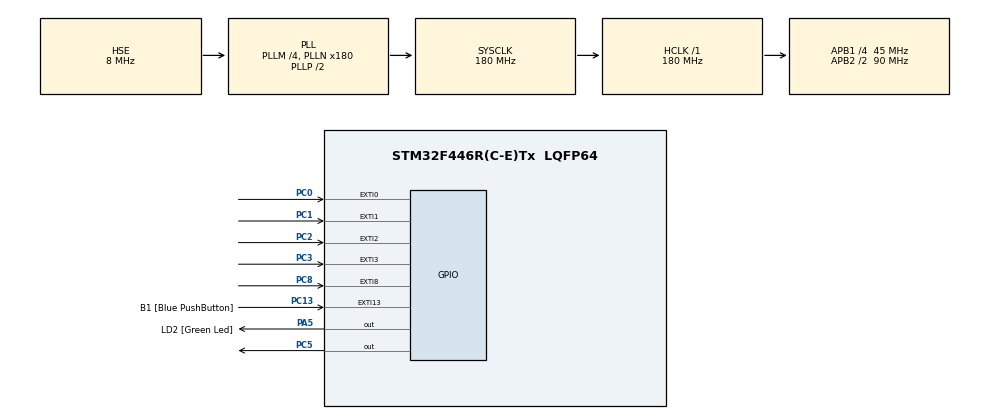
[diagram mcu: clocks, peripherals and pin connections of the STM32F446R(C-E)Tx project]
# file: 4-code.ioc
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Mcu.Family=STM32F4
Mcu.Name=STM32F446R(C-E)Tx
Mcu.Package=LQFP64
NVIC.EXTI0_IRQn=true\:0\:0\:false\:false\:true
NVIC.EXTI1_IRQn=true\:0\:0\:false\:false\:true
NVIC.EXTI2_IRQn=true\:0\:0\:false\:false\:true
NVIC.EXTI3_IRQn=true\:0\:0\:false\:false\:true
NVIC.EXTI9_5_IRQn=true\:0\:0\:false\:false\:true
NVIC.PriorityGroup=NVIC_PRIORITYGROUP_0
PA13.GPIO_Label=TMS
PA13.Mode=Serial_Wire
PA13.Signal=SYS_JTMS-SWDIO
PA14.GPIO_Label=TCK
PA14.Mode=Serial_Wire
PA14.Signal=SYS_JTCK-SWCLK
PA2.GPIO_Label=USART_TX
PA2.Signal=USART2_TX
PA3.GPIO_Label=USART_RX
PA3.Signal=USART2_RX
PA5.GPIO_Label=LD2 [Green Led]
PA5.Signal=GPIO_Output
PB3.GPIO_Label=SWO
PB3.Signal=SYS_JTDO-SWO
PC0.GPIO_ModeDefaultEXTI=GPIO_MODE_IT_FALLING
PC0.GPIO_PuPd=GPIO_PULLUP
PC0.Signal=GPXTI0
PC1.GPIO_ModeDefaultEXTI=GPIO_MODE_IT_FALLING
PC1.GPIO_PuPd=GPIO_PULLUP
PC1.Signal=GPXTI1
PC13.GPIO_Label=B1 [Blue PushButton]
PC13.GPIO_ModeDefaultEXTI=GPIO_MODE_EVT_RISING
PC13.Signal=GPXTI13
PC14-OSC32_IN.Signal=RCC_OSC32_IN
PC15-OSC32_OUT.Signal=RCC_OSC32_OUT
PC2.GPIO_ModeDefaultEXTI=GPIO_MODE_IT_FALLING
PC2.GPIO_PuPd=GPIO_PULLUP
PC2.Signal=GPXTI2
PC3.GPIO_ModeDefaultEXTI=GPIO_MODE_IT_FALLING
PC3.GPIO_PuPd=GPIO_PULLUP
PC3.Signal=GPXTI3
PC5.GPIO_ModeDefaultOutputPP=GPIO_MODE_OUTPUT_PP
PC5.Signal=GPIO_Output
PC8.GPIO_ModeDefaultEXTI=GPIO_MODE_IT_FALLING
PC8.GPIO_PuPd=GPIO_PULLUP
PC8.Signal=GPXTI8
PH0-OSC_IN.Mode=HSE-External-Clock-Source
PH0-OSC_IN.Signal=RCC_OSC_IN
PH1-OSC_OUT.Mode=HSE-External-Clock-Source
PH1-OSC_OUT.Signal=RCC_OSC_OUT
ProjectManager.HeapSize=0x200
ProjectManager.StackSize=0x400
ProjectManager.TargetToolchain=SW4STM32
RCC.AHBFreq_Value=180000000
RCC.APB1CLKDivider=RCC_HCLK_DIV4
RCC.APB1Freq_Value=45000000
RCC.APB1TimFreq_Value=90000000
RCC.APB2CLKDivider=RCC_HCLK_DIV2
RCC.APB2Freq_Value=90000000
RCC.APB2TimFreq_Value=180000000
RCC.CortexFreq_Value=180000000
RCC.FLatency-AdvancedSettings=FLASH_LATENCY_5
RCC.HCLKFreq_Value=180000000
RCC.HSE_VALUE=8000000
RCC.HSI_VALUE=16000000
RCC.LSE_VALUE=32768
RCC.PLLM=4
RCC.PLLN=180
RCC.PLLSourceVirtual=RCC_PLLSOURCE_HSE
RCC.SYSCLKFreq_VALUE=180000000
RCC.SYSCLKSource=RCC_SYSCLKSOURCE_PLLCLK
RCC.USBFreq_Value=180000000
RCC.VCOOutputFreq_Value=360000000
board=NUCLEO-F446RE

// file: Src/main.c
/**
  ******************************************************************************
  * File Name          : main.c
  * Description        : Main program body
  ******************************************************************************
  *
  * COPYRIGHT(c) 2016 STMicroelectronics
  *
  * Redistribution and use in source and binary forms, with or without modification,
  * are permitted provided that the following conditions are met:
  *   1. Redistributions of source code must retain the above copyright notice,
  *      this list of conditions and the following disclaimer.
  *   2. Redistributions in binary form must reproduce the above copyright notice,
  *      this list of conditions and the following disclaimer in the documentation
  *      and/or other materials provided with the distribution.
  *   3. Neither the name of STMicroelectronics nor the names of its contributors
  *      may be used to endorse or promote products derived from this software
  *      without specific prior written permission.
  *
  * THIS SOFTWARE IS PROVIDED BY THE COPYRIGHT HOLDERS AND CONTRIBUTORS "AS IS"
  * AND ANY EXPRESS OR IMPLIED WARRANTIES, INCLUDING, BUT NOT LIMITED TO, THE
  * IMPLIED WARRANTIES OF MERCHANTABILITY AND FITNESS FOR A PARTICULAR PURPOSE ARE
  * DISCLAIMED. IN NO EVENT SHALL THE COPYRIGHT HOLDER OR CONTRIBUTORS BE LIABLE
  * FOR ANY DIRECT, INDIRECT, INCIDENTAL, SPECIAL, EXEMPLARY, OR CONSEQUENTIAL
  * DAMAGES (INCLUDING, BUT NOT LIMITED TO, PROCUREMENT OF SUBSTITUTE GOODS OR
  * SERVICES; LOSS OF USE, DATA, OR PROFITS; OR BUSINESS INTERRUPTION) HOWEVER
  * CAUSED AND ON ANY THEORY OF LIABILITY, WHETHER IN CONTRACT, STRICT LIABILITY,
  * OR TORT (INCLUDING NEGLIGENCE OR OTHERWISE) ARISING IN ANY WAY OUT OF THE USE
  * OF THIS SOFTWARE, EVEN IF ADVISED OF THE POSSIBILITY OF SUCH DAMAGE.
  *
  ******************************************************************************
  */
#include "main.h"
#include "stm32f4xx_hal.h"
#include "gpio.h"

/* USER CODE BEGIN Includes */
#include "lcd.h"
/* USER CODE END Includes */

/* USER CODE BEGIN PV */
/* Private variables ---------------------------------------------------------*/
buttons passw[] = {BTN3, BTN0, BTN1, BTN2};
uint8_t passw_length = sizeof(passw)/sizeof(passw[0]);
volatile uint8_t current_position;
volatile uint8_t is_opened = 0;
uint8_t state = 0;

uint32_t input_end_tick = 0;

void reset(void);
/* USER CODE END PV */

void SystemClock_Config(void);
void Error_Handler(void);

/* USER CODE BEGIN PFP */
/* Private function prototypes -----------------------------------------------*/

/* USER CODE END PFP */

int main(void)
{

  /* USER CODE BEGIN 1 */
	uint32_t current_tick,
			     next_blink_tick = 0,
           autoclose_tick = 0,
           autoclose_timeout_ticks = 5000,
           input_limit_ticks = 5000;

  /* USER CODE END 1 */

  /* MCU Configuration----------------------------------------------------------*/

  /* Reset of all peripherals, Initializes the Flash interface and the Systick. */
  HAL_Init();

  /* Configure the system clock */
  SystemClock_Config();

  /* Initialize all configured peripherals */
  MX_GPIO_Init();

  /* USER CODE BEGIN 2 */
  LCD_Init();
  /* USER CODE END 2 */

  /* Infinite loop */
  /* USER CODE BEGIN WHILE */
  while (1)
  {

	  LCD_Printf("yay\n");
    current_tick = HAL_GetTick();

    // check timeout for input
    if (current_position && current_position != passw_length) {
      if (input_end_tick == 0) {
        input_end_tick = current_tick + input_limit_ticks;
      }
      else if(input_end_tick < current_tick) {
        reset();
      }
    }

    // toggle state
    if (state != is_opened) {
      state = is_opened;
      autoclose_tick = current_tick + autoclose_timeout_ticks;
      HAL_GPIO_TogglePin(GPIOC, GPIO_PIN_5);
    }
    // reset state after auto close timeout
    else if (is_opened && autoclose_tick < current_tick) {
      reset();
    }

    // blink indicator
    if (next_blink_tick < current_tick) {
      HAL_GPIO_TogglePin(GPIOA, GPIO_PIN_5);
      next_blink_tick =  current_tick + (input_end_tick ? + 200 : 1000);
    }
  /* USER CODE END WHILE */

  }

}

/** System Clock Configuration
*/
void SystemClock_Config(void)
{

  RCC_OscInitTypeDef RCC_OscInitStruct;
  RCC_ClkInitTypeDef RCC_ClkInitStruct;

    /**Configure the main internal regulator output voltage
    */
  __HAL_RCC_PWR_CLK_ENABLE();

  __HAL_PWR_VOLTAGESCALING_CONFIG(PWR_REGULATOR_VOLTAGE_SCALE1);

    /**Initializes the CPU, AHB and APB busses clocks
    */
  RCC_OscInitStruct.OscillatorType = RCC_OSCILLATORTYPE_HSE;
  RCC_OscInitStruct.HSEState = RCC_HSE_BYPASS;
  RCC_OscInitStruct.PLL.PLLState = RCC_PLL_ON;
  RCC_OscInitStruct.PLL.PLLSource = RCC_PLLSOURCE_HSE;
  RCC_OscInitStruct.PLL.PLLM = 4;
  RCC_OscInitStruct.PLL.PLLN = 180;
  RCC_OscInitStruct.PLL.PLLP = RCC_PLLP_DIV2;
  RCC_OscInitStruct.PLL.PLLQ = 2;
  RCC_OscInitStruct.PLL.PLLR = 2;
  if (HAL_RCC_OscConfig(&RCC_OscInitStruct) != HAL_OK)
  {
    Error_Handler();
  }

    /**Activate the Over-Drive mode
    */
  if (HAL_PWREx_EnableOverDrive() != HAL_OK)
  {
    Error_Handler();
  }

    /**Initializes the CPU, AHB and APB busses clocks
    */
  RCC_ClkInitStruct.ClockType = RCC_CLOCKTYPE_HCLK|RCC_CLOCKTYPE_SYSCLK
                              |RCC_CLOCKTYPE_PCLK1|RCC_CLOCKTYPE_PCLK2;
  RCC_ClkInitStruct.SYSCLKSource = RCC_SYSCLKSOURCE_PLLCLK;
  RCC_ClkInitStruct.AHBCLKDivider = RCC_SYSCLK_DIV1;
  RCC_ClkInitStruct.APB1CLKDivider = RCC_HCLK_DIV4;
  RCC_ClkInitStruct.APB2CLKDivider = RCC_HCLK_DIV2;

  if (HAL_RCC_ClockConfig(&RCC_ClkInitStruct, FLASH_LATENCY_5) != HAL_OK)
  {
    Error_Handler();
  }

    /**Configure the Systick interrupt time
    */
  HAL_SYSTICK_Config(HAL_RCC_GetHCLKFreq()/1000);

    /**Configure the Systick
    */
  HAL_SYSTICK_CLKSourceConfig(SYSTICK_CLKSOURCE_HCLK);

  /* SysTick_IRQn interrupt configuration */
  HAL_NVIC_SetPriority(SysTick_IRQn, 0, 0);
}

/* USER CODE BEGIN 4 */
void reset(void) {
  state = 0;
  is_opened = 0;
  current_position = 0;
  input_end_tick = 0;
  HAL_GPIO_WritePin(GPIOC, GPIO_PIN_5, 0);
}
/* USER CODE END 4 */

void Error_Handler(void)
{
  while(1)
  {
  }
}

/************************ (C) COPYRIGHT STMicroelectronics *****END OF FILE****/
